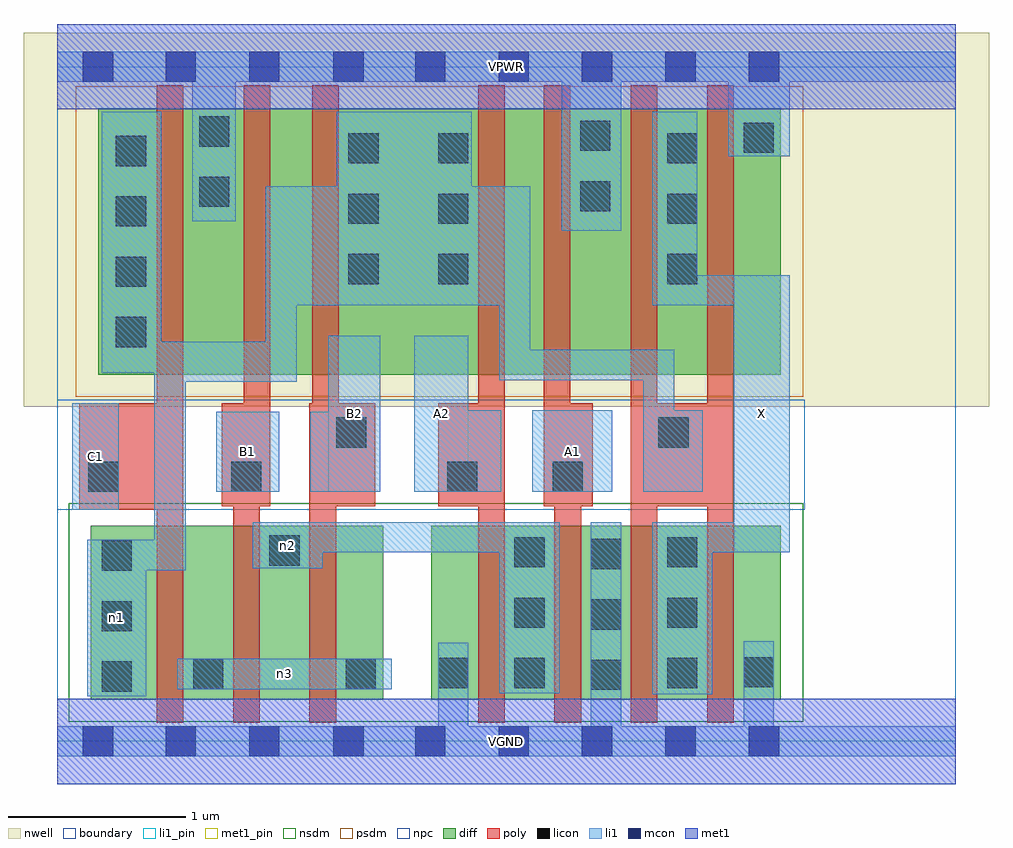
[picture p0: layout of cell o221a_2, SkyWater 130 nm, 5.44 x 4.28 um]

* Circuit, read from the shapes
.subckt o221a_2 A1 A2 B1 B2 C1 VGND VPWR X n1 n2 n3
XM1 n3 C1 n1 VSUBS sky130_fd_pr__nfet_01v8 w=0.98 l=0.15
XM2 n2 B1 n3 VSUBS sky130_fd_pr__nfet_01v8 w=0.98 l=0.15
XM3 n3 B2 n2 VSUBS sky130_fd_pr__nfet_01v8 w=0.98 l=0.15
XM4 n2 A2 VGND VSUBS sky130_fd_pr__nfet_01v8 w=0.98 l=0.15
XM5 VGND A1 n2 VSUBS sky130_fd_pr__nfet_01v8 w=0.98 l=0.15
XM6 X n1 VGND VSUBS sky130_fd_pr__nfet_01v8 w=0.98 l=0.15 m=2
XM7 VPWR C1 n1 n4 sky130_fd_pr__pfet_01v8 w=1.5 l=0.15
XM8 n5 B1 VPWR n4 sky130_fd_pr__pfet_01v8 w=1.5 l=0.15
XM9 n1 B2 n5 n4 sky130_fd_pr__pfet_01v8 w=1.5 l=0.15
XM10 n6 A2 n1 n4 sky130_fd_pr__pfet_01v8 w=1.5 l=0.15
XM11 VPWR A1 n6 n4 sky130_fd_pr__pfet_01v8 w=1.5 l=0.15
XM12 X n1 VPWR n4 sky130_fd_pr__pfet_01v8 w=1.5 l=0.15 m=2
.ends

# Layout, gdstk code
import gdstk
lib = gdstk.Library(unit=1e-6, precision=1e-09)
def R(c, l, rs):  # rectangles x0, y0, x1, y1
    for r in rs: c.add(gdstk.rectangle(r[:2], r[2:], *l))
def A(c, l, x, y, w, h, nx, ny, dx, dy):  # array of equal rectangles
    R(c, l, [(x+i*dx, y+j*dy, x+i*dx+w, y+j*dy+h) for i in range(nx) for j in range(ny)])
nwell = (64, 20)
diff = (65, 20)
poly = (66, 20)
licon = (66, 44)
li1_pin = (67, 16)
li1 = (67, 20)
mcon = (67, 44)
met1_pin = (68, 16)
met1 = (68, 20)
nsdm = (93, 44)
psdm = (94, 20)
npc = (95, 20)
boundary = (235, 4)

o221a_2 = lib.new_cell('o221a_2')
R(o221a_2, nwell, [(-0.19,1.885,5.25,3.99), (0,1.885,5.06,3.99)])
R(o221a_2, diff, [(0.19,0.235,1.835,1.215), (2.105,0.235,4.075,1.215), (0.23,2.065,4.075,3.565)])
R(o221a_2, poly, [(0.56,0.105,0.71,3.695), (0.99,0.105,1.14,1.905), (1.42,0.105,1.57,1.905), (2.37,0.105,2.52,3.695), (2.8,0.105,2.95,1.905), (3.23,0.105,3.38,3.695), (3.66,0.105,3.81,3.695), (0.125,1.305,0.71,1.905), (0.925,1.325,1.2,1.905), (1.05,1.325,1.2,3.695), (1.42,1.325,1.79,1.905), (1.435,1.325,1.585,3.695), (2.145,1.325,2.52,1.905), (2.74,1.325,3.015,1.905), (2.74,1.325,2.89,3.695), (3.23,1.325,3.81,1.905)])
A(o221a_2, licon, 0.25, 0.28, 0.17, 0.17, 1, 3, 0, 0.34)
A(o221a_2, licon, 3.005, 0.29, 0.17, 0.17, 1, 3, 0, 0.34)
A(o221a_2, licon, 2.575, 0.3, 0.17, 0.17, 1, 3, 0, 0.34)
A(o221a_2, licon, 3.435, 0.3, 0.17, 0.17, 1, 3, 0, 0.34)
A(o221a_2, licon, 0.33, 2.22, 0.17, 0.17, 1, 4, 0, 0.34)
A(o221a_2, licon, 1.64, 2.575, 0.17, 0.17, 1, 3, 0, 0.34)
A(o221a_2, licon, 2.145, 2.575, 0.17, 0.17, 1, 3, 0, 0.34)
A(o221a_2, licon, 3.435, 2.575, 0.17, 0.17, 1, 3, 0, 0.34)
R(o221a_2, licon, [(0.765,0.295,0.935,0.465), (1.625,0.295,1.795,0.465), (2.145,0.3,2.315,0.47), (3.865,0.305,4.035,0.475), (1.195,0.99,1.365,1.16), (0.175,1.405,0.345,1.575), (0.98,1.405,1.15,1.575), (2.195,1.405,2.365,1.575), (2.79,1.405,2.96,1.575), (1.57,1.655,1.74,1.825), (3.385,1.655,3.555,1.825), (2.945,2.985,3.115,3.155), (0.8,3.01,0.97,3.18), (3.865,3.315,4.035,3.485), (2.945,3.325,3.115,3.495), (0.8,3.35,0.97,3.52)])
R(o221a_2, li1_pin, [(3.81,1.065,4.125,2.625), (0.085,1.305,0.345,1.905), (0.895,1.405,1.25,1.855), (1.525,1.405,1.82,2.285), (2.01,1.405,2.315,2.285), (2.675,1.405,3.125,1.865)])
R(o221a_2, li1, [(0,-0.085,5.06,0.085), (2.145,-0.085,2.315,0.555), (3.005,-0.085,3.175,1.235), (3.865,-0.085,4.035,0.565), (0.17,0.255,0.5,1.135), (3.35,0.265,3.69,1.235), (2.49,0.27,2.83,1.235), (0.675,0.295,1.885,0.465), (0.17,0.965,0.725,1.135), (0.545,0.965,0.725,2.25), (1.1,0.975,1.495,1.235), (1.1,1.065,2.83,1.235), (3.35,1.065,4.125,1.235), (3.81,1.065,4.125,2.625), (0.085,1.305,0.345,1.905), (0.895,1.405,1.25,1.855), (1.425,1.405,1.82,1.855), (1.525,1.405,1.82,2.285), (2.01,1.405,2.315,2.285), (2.01,1.405,2.5,1.865), (2.675,1.405,3.125,1.865), (3.3,1.405,3.635,1.865), (3.3,1.405,3.475,2.205), (0.545,2.025,1.35,2.25), (1.175,2.025,1.35,3.125), (2.49,2.035,3.475,2.205), (2.49,2.035,2.665,3.125), (0.25,2.075,0.585,3.545), (1.175,2.455,2.665,3.125), (1.575,2.455,2.335,3.545), (3.35,2.455,4.125,2.625), (3.35,2.455,3.605,3.545), (2.84,2.875,3.175,3.885), (0.76,2.93,1.005,3.885), (3.78,3.295,4.125,3.885), (0,3.715,5.06,3.885)])
A(o221a_2, mcon, 2.015, -0.085, 0.17, 0.17, 5, 2, 0.47, 3.8)
R(o221a_2, mcon, [(0.145,-0.085,0.315,0.085), (0.61,-0.085,0.78,0.085), (1.08,-0.085,1.25,0.085), (1.555,-0.085,1.725,0.085), (0.145,3.715,0.315,3.885), (0.61,3.715,0.78,3.885), (1.08,3.715,1.25,3.885), (1.555,3.715,1.725,3.885)])
R(o221a_2, met1_pin, [(0,-0.24,5.06,0.24), (0,3.56,5.06,4.04)])
R(o221a_2, met1, [(0,-0.24,5.06,0.24), (0,3.56,5.06,4.04)])
R(o221a_2, nsdm, [(0.065,0.11,4.2,1.34)])
R(o221a_2, psdm, [(0.105,1.94,4.2,3.69)])
R(o221a_2, npc, [(0,1.305,4.21,1.925)])
R(o221a_2, boundary, [(0,0,5.06,3.8)])
o221a_2.add(gdstk.Label('A1', (2.9,1.635), layer=67, texttype=5))
o221a_2.add(gdstk.Label('A2', (2.162,1.845), layer=67, texttype=5))
o221a_2.add(gdstk.Label('B1', (1.072,1.63), layer=67, texttype=5))
o221a_2.add(gdstk.Label('B2', (1.672,1.845), layer=67, texttype=5))
o221a_2.add(gdstk.Label('C1', (0.215,1.605), layer=67, texttype=5))
o221a_2.add(gdstk.Label('X', (3.967,1.845), layer=67, texttype=5))
o221a_2.add(gdstk.Label('n3', (1.28,0.38), layer=67, texttype=5))
o221a_2.add(gdstk.Label('n2', (1.297,1.105), layer=67, texttype=5))
o221a_2.add(gdstk.Label('n1', (0.335,0.695), layer=67, texttype=5))
o221a_2.add(gdstk.Label('VPWR', (2.53,3.8), layer=68, texttype=5))
o221a_2.add(gdstk.Label('VGND', (2.53,0), layer=68, texttype=5))
o221a_2.add(gdstk.Label('A1', (2.9,1.635), layer=67, texttype=16))
o221a_2.add(gdstk.Label('A2', (2.162,1.845), layer=67, texttype=16))
o221a_2.add(gdstk.Label('B1', (1.072,1.63), layer=67, texttype=16))
o221a_2.add(gdstk.Label('B2', (1.672,1.845), layer=67, texttype=16))
o221a_2.add(gdstk.Label('C1', (0.215,1.605), layer=67, texttype=16))
o221a_2.add(gdstk.Label('X', (3.967,1.845), layer=67, texttype=16))
o221a_2.add(gdstk.Label('VPWR', (2.53,3.8), layer=68, texttype=16))
o221a_2.add(gdstk.Label('VGND', (2.53,0), layer=68, texttype=16))

lib.write_gds('o221a_2.gds')
